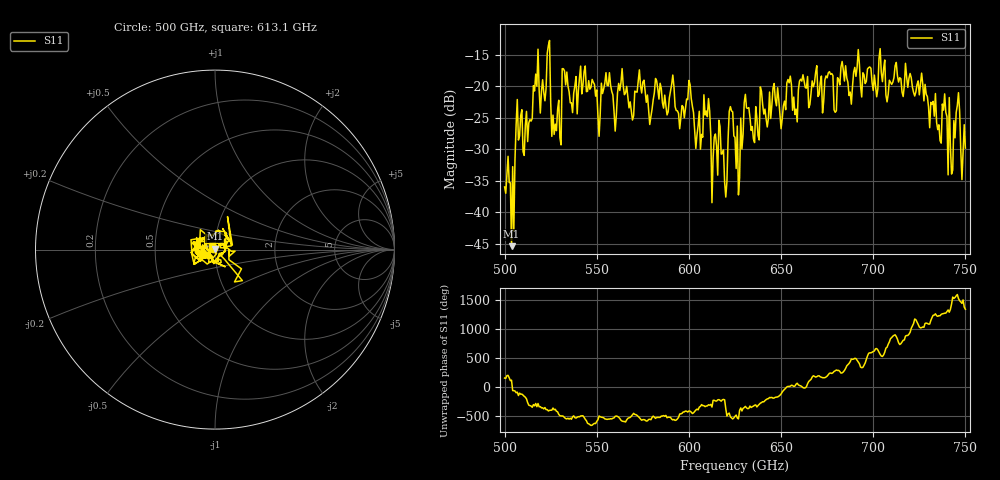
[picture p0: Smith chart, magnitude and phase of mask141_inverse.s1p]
!Created with skrf (http://scikit-rf.org).
# GHz S MA R 50.0
!freq magS11 angS11
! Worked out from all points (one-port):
!   401 points, 500 GHz to 750 GHz, reference 50 ohm
!   lowest |S11| = -45.4 dB at 503.8 GHz (marker M1), VSWR 1.01, Z = 49.8 + j0.497 ohm
!   |S11| at or under -10 dB: start of sweep to end of sweep
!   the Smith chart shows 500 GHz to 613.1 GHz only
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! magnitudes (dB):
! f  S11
! 500 GHz  -36.0
! 503.8 GHz  -45.4
! 507.5 GHz  -28.6
! 511.2 GHz  -26.2
! 516.9 GHz  -18.1
! 523.8 GHz  -13.5
! 526.9 GHz  -27.7
! 531.2 GHz  -17.2
! 562.5 GHz  -20.7
! 593.8 GHz  -23.9
! 600 GHz  -19.1
! 605 GHz  -26.3
! 609.4 GHz  -23.9
! 619.4 GHz  -35.3
! 622.5 GHz  -23.2
! 625 GHz  -28.1
! 626.2 GHz  -26.3
! 631.2 GHz  -23.4
! 634.4 GHz  -26.4
! 656.2 GHz  -23.8
! 687.5 GHz  -20.9
! 691.2 GHz  -17.0
! 718.8 GHz  -20.2
! 735.6 GHz  -26.1
! 738.8 GHz  -21.2
! 741.9 GHz  -29.6
! 745.6 GHz  -23.1
! 750 GHz  -29.8
